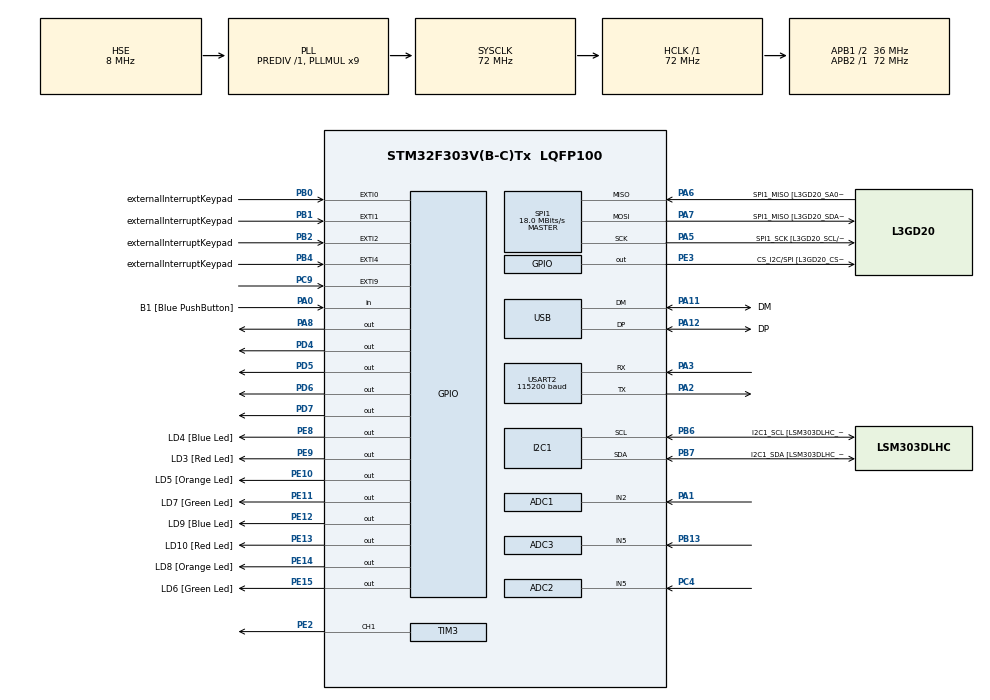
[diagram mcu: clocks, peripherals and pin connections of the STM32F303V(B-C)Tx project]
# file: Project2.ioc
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ADC1.Channel-37\#ChannelRegularConversion=ADC_CHANNEL_2
ADC1.ClockPrescaler=ADC_CLOCK_ASYNC_DIV1
ADC1.ContinuousConvMode=DISABLE
ADC1.DMAContinuousRequests=DISABLE
ADC1.DataAlign=ADC_DATAALIGN_RIGHT
ADC1.DiscontinuousConvMode=DISABLE
ADC1.EOCSelection=ADC_EOC_SINGLE_CONV
ADC1.EnableAnalogWatchDog1=false
ADC1.EnableAnalogWatchDog2=false
ADC1.EnableAnalogWatchDog3=false
ADC1.EnableInjectedConversion=ENABLE
ADC1.EnableRegularConversion=ENABLE
ADC1.ExternalTrigConv=ADC_SOFTWARE_START
ADC1.ExternalTrigConvEdge=ADC_EXTERNALTRIGCONVEDGE_NONE
ADC1.InjNumberOfConversion=0
ADC1.LowPowerAutoWait=DISABLE
ADC1.NbrOfConversion=1
ADC1.NbrOfConversionFlag=1
ADC1.Offset-37\#ChannelRegularConversion=0
ADC1.OffsetNumber-37\#ChannelRegularConversion=ADC_OFFSET_NONE
ADC1.Overrun=ADC_OVR_DATA_OVERWRITTEN
ADC1.Rank-37\#ChannelRegularConversion=1
ADC1.Resolution=ADC_RESOLUTION_8B
ADC1.SamplingTime-37\#ChannelRegularConversion=ADC_SAMPLETIME_601CYCLES_5
ADC1.ScanConvMode=ADC_SCAN_DISABLE
ADC1.master=1
ADC2.Channel-0\#ChannelRegularConversion=ADC_CHANNEL_5
ADC2.NbrOfConversionFlag=1
ADC2.Offset-0\#ChannelRegularConversion=0
ADC2.OffsetNumber-0\#ChannelRegularConversion=ADC_OFFSET_NONE
ADC2.Rank-0\#ChannelRegularConversion=1
ADC2.Resolution=ADC_RESOLUTION_8B
ADC2.SamplingTime-0\#ChannelRegularConversion=ADC_SAMPLETIME_601CYCLES_5
ADC3.Channel-11\#ChannelRegularConversion=ADC_CHANNEL_5
ADC3.NbrOfConversionFlag=1
ADC3.Offset-11\#ChannelRegularConversion=0
ADC3.OffsetNumber-11\#ChannelRegularConversion=ADC_OFFSET_NONE
ADC3.Rank-11\#ChannelRegularConversion=1
ADC3.Resolution=ADC_RESOLUTION_8B
ADC3.SamplingTime-11\#ChannelRegularConversion=ADC_SAMPLETIME_601CYCLES_5
ADC3.master=1
I2C1.Timing-I2C=0x2000090E
Mcu.Family=STM32F3
Mcu.Name=STM32F303V(B-C)Tx
Mcu.Package=LQFP100
NVIC.ADC1_2_IRQn=true\:3\:0\:true\:false\:true\:true
NVIC.ADC3_IRQn=true\:3\:0\:true\:false\:true\:true
NVIC.EXTI0_IRQn=true\:1\:0\:true\:false\:true\:true
NVIC.EXTI1_IRQn=true\:1\:0\:true\:false\:true\:true
NVIC.EXTI2_TSC_IRQn=true\:1\:0\:true\:false\:true\:true
NVIC.EXTI4_IRQn=true\:1\:0\:true\:false\:true\:true
NVIC.EXTI9_5_IRQn=true\:1\:0\:true\:false\:true\:true
NVIC.PriorityGroup=NVIC_PRIORITYGROUP_3
NVIC.TIM2_IRQn=true\:2\:0\:true\:false\:true\:true
NVIC.USART2_IRQn=true\:1\:0\:true\:false\:true\:true
PA0.GPIO_Label=B1 [Blue PushButton]
PA0.Signal=GPIO_Input
PA1.Mode=IN2-Single-Ended
PA1.Signal=ADC1_IN2
PA11.GPIO_Label=DM
PA11.Mode=Device
PA11.Signal=USB_DM
PA12.GPIO_Label=DP
PA12.Mode=Device
PA12.Signal=USB_DP
PA13.GPIO_Label=SWDIO
PA13.Mode=Serial_Wire
PA13.Signal=SYS_JTMS-SWDIO
PA14.GPIO_Label=SWCLK
PA14.Mode=Serial_Wire
PA14.Signal=SYS_JTCK-SWCLK
PA2.Mode=Asynchronous
PA2.Signal=USART2_TX
PA3.Mode=Asynchronous
PA3.Signal=USART2_RX
PA5.GPIO_Label=SPI1_SCK [L3GD20_SCL/SPC]
PA5.Mode=Full_Duplex_Master
PA5.Signal=SPI1_SCK
PA6.GPIO_Label=SPI1_MISO [L3GD20_SA0/SDO]
PA6.Mode=Full_Duplex_Master
PA6.Signal=SPI1_MISO
PA7.GPIO_Label=SPI1_MISO [L3GD20_SDA/SDI/SDO]
PA7.Mode=Full_Duplex_Master
PA7.Signal=SPI1_MOSI
PA8.GPIO_PuPd=GPIO_PULLDOWN
PA8.Signal=GPIO_Output
PB0.GPIO_Label=externalInterruptKeypad
PB0.GPIO_PuPd=GPIO_PULLDOWN
PB0.Signal=GPXTI0
PB1.GPIO_Label=externalInterruptKeypad
PB1.GPIO_PuPd=GPIO_PULLDOWN
PB1.Signal=GPXTI1
PB13.Mode=IN5-Single-Ended
PB13.Signal=ADC3_IN5
PB2.GPIO_Label=externalInterruptKeypad
PB2.GPIO_PuPd=GPIO_PULLDOWN
PB2.Signal=GPXTI2
PB3.GPIO_Label=SWO
PB3.Signal=SYS_JTDO-TRACESWO
PB4.GPIO_Label=externalInterruptKeypad
PB4.GPIO_PuPd=GPIO_PULLDOWN
PB4.Signal=GPXTI4
PB6.GPIO_Label=I2C1_SCL [LSM303DLHC_SCL]
PB6.Mode=I2C
PB6.Signal=I2C1_SCL
PB7.GPIO_Label=I2C1_SDA [LSM303DLHC_SDA]
PB7.Mode=I2C
PB7.Signal=I2C1_SDA
PC14-OSC32_IN.GPIO_Label=OSC32_IN
PC14-OSC32_IN.Signal=RCC_OSC32_IN
PC15-OSC32_OUT.GPIO_Label=OSC32_OUT
PC15-OSC32_OUT.Signal=RCC_OSC32_OUT
PC4.Mode=IN5-Single-Ended
PC4.Signal=ADC2_IN5
PC9.Signal=GPXTI9
PD4.Signal=GPIO_Output
PD5.Signal=GPIO_Output
PD6.Signal=GPIO_Output
PD7.Signal=GPIO_Output
PE10.GPIO_Label=LD5 [Orange Led]
PE10.Signal=GPIO_Output
PE11.GPIO_Label=LD7 [Green Led]
PE11.Signal=GPIO_Output
PE12.GPIO_Label=LD9 [Blue Led]
PE12.Signal=GPIO_Output
PE13.GPIO_Label=LD10 [Red Led]
PE13.Signal=GPIO_Output
PE14.GPIO_Label=LD8 [Orange Led]
PE14.Signal=GPIO_Output
PE15.GPIO_Label=LD6 [Green Led]
PE15.Signal=GPIO_Output
PE2.GPIO_PuPd=GPIO_NOPULL
PE2.Signal=S_TIM3_CH1
PE3.GPIO_Label=CS_I2C/SPI [L3GD20_CS_I2C/SPI]
PE3.Signal=GPIO_Output
PE8.GPIO_Label=LD4 [Blue Led]
PE8.Signal=GPIO_Output
PE9.GPIO_Label=LD3 [Red Led]
PE9.Signal=GPIO_Output
PF0-OSC_IN.GPIO_Label=OSC_IN
PF0-OSC_IN.Mode=HSE-External-Clock-Source
PF0-OSC_IN.Signal=RCC_OSC_IN
PF1-OSC_OUT.GPIO_Label=OSC_OUT
PF1-OSC_OUT.Signal=RCC_OSC_OUT
ProjectManager.HeapSize=0x200
ProjectManager.StackSize=0x400
ProjectManager.TargetToolchain=MDK-ARM V5
RCC.AHBFreq_Value=72000000
RCC.APB1CLKDivider=RCC_HCLK_DIV2
RCC.APB1Freq_Value=36000000
RCC.APB1TimFreq_Value=72000000
RCC.APB2Freq_Value=72000000
RCC.APB2TimFreq_Value=72000000
RCC.CortexFreq_Value=72000000
RCC.HCLKFreq_Value=72000000
RCC.HSE_VALUE=8000000
RCC.HSI_VALUE=8000000
RCC.LSE_VALUE=32768
RCC.PLLMUL=RCC_PLL_MUL9
RCC.PRESCALERUSB=RCC_USBCLKSOURCE_PLL_DIV1_5
RCC.SYSCLKFreq_VALUE=72000000
RCC.SYSCLKSourceVirtual=RCC_SYSCLKSOURCE_PLLCLK
RCC.USBFreq_Value=48000000
RTC.AsynchPrediv=39
RTC.SynchPrediv=999
SH.S_TIM3_CH1.0=TIM3_CH1,PWM Generation1 CH1
SPI1.BaudRatePrescaler=SPI_BAUDRATEPRESCALER_4
SPI1.BaudRatePrescaler-Full_Duplex_Master=SPI_BAUDRATEPRESCALER_2
SPI1.CalculateBaudRate=18.0 MBits/s
SPI1.CalculateBaudRate-Full_Duplex_Master=24.0 MBits/s
SPI1.Direction=SPI_DIRECTION_2LINES
SPI1.Mode=SPI_MODE_MASTER
SPI1.Mode-Full_Duplex_Master=SPI_MODE_MASTER
SPI1.VirtualType=VM_MASTER
TIM2.Period=10000
TIM2.Prescaler=719
TIM3.Channel-PWM\ Generation1\ CH1=TIM_CHANNEL_1
TIM3.Period=100
TIM3.Prescaler=72
USART2.BaudRate=115200
USART2.VirtualMode-Asynchronous=VM_ASYNC
VP_RTC_VS_RTC_Activate.Mode=RTC_Enabled
VP_RTC_VS_RTC_Calendar.Mode=RTC_Calendar
VP_TIM2_VS_ClockSourceINT.Mode=Internal
board=STM32F3DISCOVERY

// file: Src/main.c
/**
  ******************************************************************************
  * @file           : main.c
  * @brief          : Main program body
  ******************************************************************************
  ** This notice applies to any and all portions of this file
  * that are not between comment pairs USER CODE BEGIN and
  * USER CODE END. Other portions of this file, whether
  * inserted by the user or by software development tools
  * are owned by their respective copyright owners.
  *
  * COPYRIGHT(c) 2019 STMicroelectronics
  *
  * Redistribution and use in source and binary forms, with or without modification,
  * are permitted provided that the following conditions are met:
  *   1. Redistributions of source code must retain the above copyright notice,
  *      this list of conditions and the following disclaimer.
  *   2. Redistributions in binary form must reproduce the above copyright notice,
  *      this list of conditions and the following disclaimer in the documentation
  *      and/or other materials provided with the distribution.
  *   3. Neither the name of STMicroelectronics nor the names of its contributors
  *      may be used to endorse or promote products derived from this software
  *      without specific prior written permission.
  *
  * THIS SOFTWARE IS PROVIDED BY THE COPYRIGHT HOLDERS AND CONTRIBUTORS "AS IS"
  * AND ANY EXPRESS OR IMPLIED WARRANTIES, INCLUDING, BUT NOT LIMITED TO, THE
  * IMPLIED WARRANTIES OF MERCHANTABILITY AND FITNESS FOR A PARTICULAR PURPOSE ARE
  * DISCLAIMED. IN NO EVENT SHALL THE COPYRIGHT HOLDER OR CONTRIBUTORS BE LIABLE
  * FOR ANY DIRECT, INDIRECT, INCIDENTAL, SPECIAL, EXEMPLARY, OR CONSEQUENTIAL
  * DAMAGES (INCLUDING, BUT NOT LIMITED TO, PROCUREMENT OF SUBSTITUTE GOODS OR
  * SERVICES; LOSS OF USE, DATA, OR PROFITS; OR BUSINESS INTERRUPTION) HOWEVER
  * CAUSED AND ON ANY THEORY OF LIABILITY, WHETHER IN CONTRACT, STRICT LIABILITY,
  * OR TORT (INCLUDING NEGLIGENCE OR OTHERWISE) ARISING IN ANY WAY OUT OF THE USE
  * OF THIS SOFTWARE, EVEN IF ADVISED OF THE POSSIBILITY OF SUCH DAMAGE.
  *
  ******************************************************************************
  */
#include "main.h"
#include "stm32f3xx_hal.h"

/* USER CODE BEGIN Includes */
#include "LiquidCrystal.h"
/* USER CODE END Includes */

ADC_HandleTypeDef hadc1;
ADC_HandleTypeDef hadc2;
ADC_HandleTypeDef hadc3;

I2C_HandleTypeDef hi2c1;

RTC_HandleTypeDef hrtc;

SPI_HandleTypeDef hspi1;

TIM_HandleTypeDef htim2;
TIM_HandleTypeDef htim3;

UART_HandleTypeDef huart2;

PCD_HandleTypeDef hpcd_USB_FS;

/* USER CODE BEGIN PV */
/* Private variables ---------------------------------------------------------*/

	int mode = 0;
	int c = 0;
	int blinkCounter = 0;
	RTC_TimeTypeDef t;
	RTC_DateTypeDef d;

	/* for showing time */
	char hi[5];
	char low[5];

	/* It was used by Sorush. i do not know even what the fuck is this! */
	int b = 0;

	/* 5 stars values */
	unsigned char dd = '1';
	unsigned char buffer[100] = "";
	int pos = 0;
	char temp[100] = "";
	char light[100] = "";

	void specialChar();

/* USER CODE END PV */

void SystemClock_Config(void);
static void MX_GPIO_Init(void);
static void MX_I2C1_Init(void);
static void MX_SPI1_Init(void);
static void MX_USB_PCD_Init(void);
static void MX_RTC_Init(void);
static void MX_USART2_UART_Init(void);
static void MX_TIM2_Init(void);
static void MX_ADC1_Init(void);
static void MX_ADC2_Init(void);
static void MX_ADC3_Init(void);
static void MX_TIM3_Init(void);

void HAL_TIM_MspPostInit(TIM_HandleTypeDef *htim);

/* USER CODE BEGIN PFP */
/* Private function prototypes -----------------------------------------------*/

/* USER CODE END PFP */

/* USER CODE BEGIN 0 */

char* zeropadd(int time){
	sprintf(hi,"%d",time/10);
	sprintf(low,"%d",time%10);
	strcat(hi,low);
	return hi;
}
char* toWeekday(int weekday){
	switch (weekday){
		case 0:
			return "MON";
		case 1:
			return "TUE";
		case 2:
			return "WED";
		case 3:
			return "THU";
		case 4:
			return "FRI";
		case 5:
			return "SAT";
	}
	return "SUN";
}
char* toMonth(int month){
	switch (month){
		case 1:
			return "Jan";
		case 2:
			return "Feb";
		case 3:
			return "Mar";
		case 4:
			return "Apr";
		case 5:
			return "May";
		case 6:
			return "Jun";
		case 7:
			return "Jul";
		case 8:
			return "Aug";
		case 9:
			return "Sep";
		case 10:
			return "Oct";
		case 11:
			return "Nov";
	}
	return "Dec";
}
void showTimeCalender(RTC_TimeTypeDef t,RTC_DateTypeDef d, int counter){
	print("");
	HAL_RTC_GetTime(&hrtc,&t,RTC_FORMAT_BIN);
	HAL_RTC_GetDate(&hrtc,&d,RTC_FORMAT_BIN);

	char indicator[2];
	char time[9];
	char date[16];
	if(t.Hours - 12 >= 0){
		t.Hours = t.Hours-12;
		strcpy(indicator,"PM");
	}
	else{
		strcpy(indicator,"AM");
	}
	strcpy(time," ");
	strcat(time,zeropadd(t.Hours));
	strcat(time,":");
	strcat(time,zeropadd(t.Minutes));
	strcat(time,":");
	strcat(time,zeropadd(t.Seconds));
	strcat(time," ");
	if(counter < 9 && abs(t.Seconds - b) > 0.25){
		*(time + counter) = ' ';
		b = t.Seconds;
	}

	setCursor(3,0);
	print(time);
	print(indicator);

	char calender[2][10] ;
	sprintf(calender[0], "%d", d.Date);
	sprintf(calender[1], "%d", d.Year);
	strcpy(date," ");
	strcat(date,toWeekday(d.WeekDay));
	strcat(date," ");
	strcat(date,toMonth(d.Month));
	strcat(date," ");
	strcat(date,calender[0]);
	strcat(date,",20");
	strcat(date,calender[1]);
	strcat(date," ");
	setCursor(2,1);

	if(counter > 8 && abs(t.Seconds - b) > 0.25){
		counter %= 8;

		switch (counter){
			case 1:
				*(date + counter + 9) = ' ';
			break;
			case 3:
				*(date + counter) = ' ';
				*(date + counter - 1) = ' ';
				*(date + counter - 2) = ' ';
			break;

			case 4:
				*(date + counter + 11) = ' ';
			break;

			case 6:
				*(date + counter - 1) = ' ';
				*(date + counter) = ' ';
				*(date + counter + 1) = ' ';
			break;

		}

		b = t.Seconds;
	}

	print(date);
}

void showTemp(){
	setCursor(4,0);
	print(temp);

	setCursor(8,0);
	write(3);

	setCursor(9,0);
	print("C");

	setCursor(11,0);
	write(2);

	setCursor(12,0);
	write(1);

	setCursor(13,0);
	write(0);

}

void showLight(){
	setCursor(4,0);
	print(light);

	setCursor(8,0);
	print("%L");

	setCursor(11,0);
	write(6);

	setCursor(12,0);
	write(5);

	setCursor(13,0);
	write(4);
}

int ClearScreen(){
	clear();
	return 0;
}

void motionDtc(){
	print("Motion Detect");
	HAL_Delay(500);
	c = 1;
	mode = 0;
}

void increaseTime(){
	switch (blinkCounter){
		case 2:
			t.Hours = (t.Hours +1) % 24;
			break;

		case 5:
			t.Minutes = (t.Minutes +1) % 60;
			break;

		case 8:
			t.Seconds = (t.Seconds + 1) % 60;
			break;

		case 11:
			d.WeekDay = (d.WeekDay + 1) % 7;
			break;

		case 14:
			d.Month = (d.Month + 1) % 12;
			break;

		case 17:
			d.Date = (d.Date + 1)%31;
			break;

		case 20:
			d.Year = (d.Year + 1) % 100;
			break;

		default:
			break;

	}
		HAL_RTC_SetTime(&hrtc,&t,RTC_FORMAT_BIN);
		HAL_RTC_SetDate(&hrtc,&d,RTC_FORMAT_BIN);
}

void decreaseTime(){
	switch (blinkCounter){
		case 2:
			t.Hours = (t.Hours -1) % 24;
			break;

		case 5:
			t.Minutes = (t.Minutes -1) % 60;
			break;

		case 8:
			t.Seconds = (t.Seconds - 1) % 60;
			break;

		case 11:
			d.WeekDay = (d.WeekDay - 1) % 7;
			break;

		case 14:
			d.Month = (d.Month - 1) % 12;
			break;

		case 17:
			d.Date = (d.Date - 1)%31;
			break;

		case 20:
			d.Year = (d.Year - 1) % 100;
			break;

		default:
			break;

	}
		HAL_RTC_SetTime(&hrtc,&t,RTC_FORMAT_BIN);
		HAL_RTC_SetDate(&hrtc,&d,RTC_FORMAT_BIN);
}

void specialChar(){

	unsigned char dal[8]={0x00,
  0x00,
  0x0C,
  0x06,
  0x03,
  0x0F,
  0x00,
  0x00};
	unsigned char mim[8]={0x00,
  0x00,
  0x00,
  0x0E,
  0x0A,
  0x1E,
  0x00,
  0x00};
	unsigned char alef[8]={0x01,
  0x01,
  0x01,
  0x01,
  0x01,
  0x01,
  0x00,
  0x00};
	unsigned char degree[8]={0x04,
  0x0A,
  0x04,
  0x00,
  0x00,
  0x00,
  0x00,
  0x00};
	unsigned char noon[8]={0x00,
  0x00,
  0x02,
  0x00,
  0x02,
  0x1E,
  0x00,
  0x00};
	unsigned char vav[8]={0x00,
  0x00,
  0x04,
  0x0A,
  0x06,
  0x02,
  0x04,
  0x08};
	unsigned char rr[8]={0x00,
  0x00,
  0x00,
  0x00,
  0x02,
  0x04,
  0x08,
  0x10};

	createChar(0,dal);
	createChar(1,mim);
	createChar(2,alef);
	createChar(3,degree);
	createChar(4,noon);
	createChar(5,vav);
	createChar(6,rr);
}
/* USER CODE END 0 */

int main(void)
{

  /* MCU Configuration----------------------------------------------------------*/

  /* Reset of all peripherals, Initializes the Flash interface and the Systick. */
  HAL_Init();

  /* Configure the system clock */
  SystemClock_Config();

  /* Initialize all configured peripherals */
  MX_GPIO_Init();
  MX_I2C1_Init();
  MX_SPI1_Init();
  MX_USB_PCD_Init();
  MX_RTC_Init();
  MX_USART2_UART_Init();
  MX_TIM2_Init();
  MX_ADC1_Init();
  MX_ADC2_Init();
  MX_ADC3_Init();
  MX_TIM3_Init();
  /* USER CODE BEGIN 2 */
	LiquidCrystal(GPIOD, GPIO_PIN_8, GPIO_PIN_9, GPIO_PIN_10, GPIO_PIN_11, GPIO_PIN_12, GPIO_PIN_13, GPIO_PIN_14);
	begin(20,4);
	specialChar();

	HAL_TIM_Base_Start_IT(&htim2);

  /* USER CODE END 2 */

  /* Infinite loop */
  while (1)
  {

  }

}

void SystemClock_Config(void)
{

  RCC_OscInitTypeDef RCC_OscInitStruct;
  RCC_ClkInitTypeDef RCC_ClkInitStruct;
  RCC_PeriphCLKInitTypeDef PeriphClkInit;

    /**Initializes the CPU, AHB and APB busses clocks
    */
  RCC_OscInitStruct.OscillatorType = RCC_OSCILLATORTYPE_HSI|RCC_OSCILLATORTYPE_LSI
                              |RCC_OSCILLATORTYPE_HSE;
  RCC_OscInitStruct.HSEState = RCC_HSE_BYPASS;
  RCC_OscInitStruct.HSEPredivValue = RCC_HSE_PREDIV_DIV1;
  RCC_OscInitStruct.HSIState = RCC_HSI_ON;
  RCC_OscInitStruct.HSICalibrationValue = 16;
  RCC_OscInitStruct.LSIState = RCC_LSI_ON;
  RCC_OscInitStruct.PLL.PLLState = RCC_PLL_ON;
  RCC_OscInitStruct.PLL.PLLSource = RCC_PLLSOURCE_HSE;
  RCC_OscInitStruct.PLL.PLLMUL = RCC_PLL_MUL9;
  if (HAL_RCC_OscConfig(&RCC_OscInitStruct) != HAL_OK)
  {
    _Error_Handler(__FILE__, __LINE__);
  }

    /**Initializes the CPU, AHB and APB busses clocks
    */
  RCC_ClkInitStruct.ClockType = RCC_CLOCKTYPE_HCLK|RCC_CLOCKTYPE_SYSCLK
                              |RCC_CLOCKTYPE_PCLK1|RCC_CLOCKTYPE_PCLK2;
  RCC_ClkInitStruct.SYSCLKSource = RCC_SYSCLKSOURCE_PLLCLK;
  RCC_ClkInitStruct.AHBCLKDivider = RCC_SYSCLK_DIV1;
  RCC_ClkInitStruct.APB1CLKDivider = RCC_HCLK_DIV2;
  RCC_ClkInitStruct.APB2CLKDivider = RCC_HCLK_DIV1;

  if (HAL_RCC_ClockConfig(&RCC_ClkInitStruct, FLASH_LATENCY_2) != HAL_OK)
  {
    _Error_Handler(__FILE__, __LINE__);
  }

  PeriphClkInit.PeriphClockSelection = RCC_PERIPHCLK_USB|RCC_PERIPHCLK_USART2
                              |RCC_PERIPHCLK_I2C1|RCC_PERIPHCLK_RTC
                              |RCC_PERIPHCLK_ADC12|RCC_PERIPHCLK_ADC34;
  PeriphClkInit.Usart2ClockSelection = RCC_USART2CLKSOURCE_PCLK1;
  PeriphClkInit.Adc12ClockSelection = RCC_ADC12PLLCLK_DIV1;
  PeriphClkInit.Adc34ClockSelection = RCC_ADC34PLLCLK_DIV1;
  PeriphClkInit.I2c1ClockSelection = RCC_I2C1CLKSOURCE_HSI;
  PeriphClkInit.RTCClockSelection = RCC_RTCCLKSOURCE_LSI;
  PeriphClkInit.USBClockSelection = RCC_USBCLKSOURCE_PLL_DIV1_5;
  if (HAL_RCCEx_PeriphCLKConfig(&PeriphClkInit) != HAL_OK)
  {
    _Error_Handler(__FILE__, __LINE__);
  }

    /**Configure the Systick interrupt time
    */
  HAL_SYSTICK_Config(HAL_RCC_GetHCLKFreq()/1000);

    /**Configure the Systick
    */
  HAL_SYSTICK_CLKSourceConfig(SYSTICK_CLKSOURCE_HCLK);

  /* SysTick_IRQn interrupt configuration */
  HAL_NVIC_SetPriority(SysTick_IRQn, 0, 0);
}

/* ADC1 init function */
static void MX_ADC1_Init(void)
{

  ADC_MultiModeTypeDef multimode;
  ADC_ChannelConfTypeDef sConfig;

    /**Common config
    */
  hadc1.Instance = ADC1;
  hadc1.Init.ClockPrescaler = ADC_CLOCK_ASYNC_DIV1;
  hadc1.Init.Resolution = ADC_RESOLUTION_8B;
  hadc1.Init.ScanConvMode = ADC_SCAN_DISABLE;
  hadc1.Init.ContinuousConvMode = DISABLE;
  hadc1.Init.DiscontinuousConvMode = DISABLE;
  hadc1.Init.ExternalTrigConvEdge = ADC_EXTERNALTRIGCONVEDGE_NONE;
  hadc1.Init.ExternalTrigConv = ADC_SOFTWARE_START;
  hadc1.Init.DataAlign = ADC_DATAALIGN_RIGHT;
  hadc1.Init.NbrOfConversion = 1;
  hadc1.Init.DMAContinuousRequests = DISABLE;
  hadc1.Init.EOCSelection = ADC_EOC_SINGLE_CONV;
  hadc1.Init.LowPowerAutoWait = DISABLE;
  hadc1.Init.Overrun = ADC_OVR_DATA_OVERWRITTEN;
  if (HAL_ADC_Init(&hadc1) != HAL_OK)
  {
    _Error_Handler(__FILE__, __LINE__);
  }

    /**Configure the ADC multi-mode
    */
  multimode.Mode = ADC_MODE_INDEPENDENT;
  if (HAL_ADCEx_MultiModeConfigChannel(&hadc1, &multimode) != HAL_OK)
  {
    _Error_Handler(__FILE__, __LINE__);
  }

    /**Configure Regular Channel
    */
  sConfig.Channel = ADC_CHANNEL_2;
  sConfig.Rank = ADC_REGULAR_RANK_1;
  sConfig.SingleDiff = ADC_SINGLE_ENDED;
  sConfig.SamplingTime = ADC_SAMPLETIME_601CYCLES_5;
  sConfig.OffsetNumber = ADC_OFFSET_NONE;
  sConfig.Offset = 0;
  if (HAL_ADC_ConfigChannel(&hadc1, &sConfig) != HAL_OK)
  {
    _Error_Handler(__FILE__, __LINE__);
  }

}

/* ADC2 init function */
static void MX_ADC2_Init(void)
{

  ADC_ChannelConfTypeDef sConfig;

    /**Common config
    */
  hadc2.Instance = ADC2;
  hadc2.Init.ClockPrescaler = ADC_CLOCK_ASYNC_DIV1;
  hadc2.Init.Resolution = ADC_RESOLUTION_8B;
  hadc2.Init.ScanConvMode = ADC_SCAN_DISABLE;
  hadc2.Init.ContinuousConvMode = DISABLE;
  hadc2.Init.DiscontinuousConvMode = DISABLE;
  hadc2.Init.ExternalTrigConvEdge = ADC_EXTERNALTRIGCONVEDGE_NONE;
  hadc2.Init.ExternalTrigConv = ADC_SOFTWARE_START;
  hadc2.Init.DataAlign = ADC_DATAALIGN_RIGHT;
  hadc2.Init.NbrOfConversion = 1;
  hadc2.Init.DMAContinuousRequests = DISABLE;
  hadc2.Init.EOCSelection = ADC_EOC_SINGLE_CONV;
  hadc2.Init.LowPowerAutoWait = DISABLE;
  hadc2.Init.Overrun = ADC_OVR_DATA_OVERWRITTEN;
  if (HAL_ADC_Init(&hadc2) != HAL_OK)
  {
    _Error_Handler(__FILE__, __LINE__);
  }

    /**Configure Regular Channel
    */
  sConfig.Channel = ADC_CHANNEL_5;
  sConfig.Rank = ADC_REGULAR_RANK_1;
  sConfig.SingleDiff = ADC_SINGLE_ENDED;
  sConfig.SamplingTime = ADC_SAMPLETIME_601CYCLES_5;
  sConfig.OffsetNumber = ADC_OFFSET_NONE;
  sConfig.Offset = 0;
  if (HAL_ADC_ConfigChannel(&hadc2, &sConfig) != HAL_OK)
  {
    _Error_Handler(__FILE__, __LINE__);
  }

}

/* ADC3 init function */
static void MX_ADC3_Init(void)
{

  ADC_MultiModeTypeDef multimode;
  ADC_ChannelConfTypeDef sConfig;

    /**Common config
    */
  hadc3.Instance = ADC3;
  hadc3.Init.ClockPrescaler = ADC_CLOCK_ASYNC_DIV1;
  hadc3.Init.Resolution = ADC_RESOLUTION_8B;
  hadc3.Init.ScanConvMode = ADC_SCAN_DISABLE;
  hadc3.Init.ContinuousConvMode = DISABLE;
  hadc3.Init.DiscontinuousConvMode = DISABLE;
  hadc3.Init.ExternalTrigConvEdge = ADC_EXTERNALTRIGCONVEDGE_NONE;
  hadc3.Init.ExternalTrigConv = ADC_SOFTWARE_START;
  hadc3.Init.DataAlign = ADC_DATAALIGN_RIGHT;
  hadc3.Init.NbrOfConversion = 1;
  hadc3.Init.DMAContinuousRequests = DISABLE;
  hadc3.Init.EOCSelection = ADC_EOC_SINGLE_CONV;
  hadc3.Init.LowPowerAutoWait = DISABLE;
  hadc3.Init.Overrun = ADC_OVR_DATA_OVERWRITTEN;
  if (HAL_ADC_Init(&hadc3) != HAL_OK)
  {
    _Error_Handler(__FILE__, __LINE__);
  }

    /**Configure the ADC multi-mode
    */
  multimode.Mode = ADC_MODE_INDEPENDENT;
  if (HAL_ADCEx_MultiModeConfigChannel(&hadc3, &multimode) != HAL_OK)
  {
    _Error_Handler(__FILE__, __LINE__);
  }

    /**Configure Regular Channel
    */
  sConfig.Channel = ADC_CHANNEL_5;
  sConfig.Rank = ADC_REGULAR_RANK_1;
  sConfig.SingleDiff = ADC_SINGLE_ENDED;
  sConfig.SamplingTime = ADC_SAMPLETIME_601CYCLES_5;
  sConfig.OffsetNumber = ADC_OFFSET_NONE;
  sConfig.Offset = 0;
  if (HAL_ADC_ConfigChannel(&hadc3, &sConfig) != HAL_OK)
  {
    _Error_Handler(__FILE__, __LINE__);
  }

}

/* I2C1 init function */
static void MX_I2C1_Init(void)
{

  hi2c1.Instance = I2C1;
  hi2c1.Init.Timing = 0x2000090E;
  hi2c1.Init.OwnAddress1 = 0;
  hi2c1.Init.AddressingMode = I2C_ADDRESSINGMODE_7BIT;
  hi2c1.Init.DualAddressMode = I2C_DUALADDRESS_DISABLE;
  hi2c1.Init.OwnAddress2 = 0;
  hi2c1.Init.OwnAddress2Masks = I2C_OA2_NOMASK;
  hi2c1.Init.GeneralCallMode = I2C_GENERALCALL_DISABLE;
  hi2c1.Init.NoStretchMode = I2C_NOSTRETCH_DISABLE;
  if (HAL_I2C_Init(&hi2c1) != HAL_OK)
  {
    _Error_Handler(__FILE__, __LINE__);
  }

    /**Configure Analogue filter
    */
  if (HAL_I2CEx_ConfigAnalogFilter(&hi2c1, I2C_ANALOGFILTER_ENABLE) != HAL_OK)
  {
    _Error_Handler(__FILE__, __LINE__);
  }

    /**Configure Digital filter
    */
  if (HAL_I2CEx_ConfigDigitalFilter(&hi2c1, 0) != HAL_OK)
  {
    _Error_Handler(__FILE__, __LINE__);
  }

}

/* RTC init function */
static void MX_RTC_Init(void)
{

  RTC_TimeTypeDef sTime;
  RTC_DateTypeDef sDate;

    /**Initialize RTC Only
    */
  hrtc.Instance = RTC;
  hrtc.Init.HourFormat = RTC_HOURFORMAT_24;
  hrtc.Init.AsynchPrediv = 39;
  hrtc.Init.SynchPrediv = 999;
  hrtc.Init.OutPut = RTC_OUTPUT_DISABLE;
  hrtc.Init.OutPutPolarity = RTC_OUTPUT_POLARITY_HIGH;
  hrtc.Init.OutPutType = RTC_OUTPUT_TYPE_OPENDRAIN;
  if (HAL_RTC_Init(&hrtc) != HAL_OK)
  {
    _Error_Handler(__FILE__, __LINE__);
  }

    /**Initialize RTC and set the Time and Date
    */
  sTime.Hours = 0x0;
  sTime.Minutes = 0x0;
  sTime.Seconds = 0x0;
  sTime.DayLightSaving = RTC_DAYLIGHTSAVING_NONE;
  sTime.StoreOperation = RTC_STOREOPERATION_RESET;
  if (HAL_RTC_SetTime(&hrtc, &sTime, RTC_FORMAT_BCD) != HAL_OK)
  {
    _Error_Handler(__FILE__, __LINE__);
  }

  sDate.WeekDay = RTC_WEEKDAY_MONDAY;
  sDate.Month = RTC_MONTH_JANUARY;
  sDate.Date = 0x1;
  sDate.Year = 0x0;

  if (HAL_RTC_SetDate(&hrtc, &sDate, RTC_FORMAT_BCD) != HAL_OK)
  {
    _Error_Handler(__FILE__, __LINE__);
  }

}

/* SPI1 init function */
static void MX_SPI1_Init(void)
{

  /* SPI1 parameter configuration*/
  hspi1.Instance = SPI1;
  hspi1.Init.Mode = SPI_MODE_MASTER;
  hspi1.Init.Direction = SPI_DIRECTION_2LINES;
  hspi1.Init.DataSize = SPI_DATASIZE_4BIT;
  hspi1.Init.CLKPolarity = SPI_POLARITY_LOW;
  hspi1.Init.CLKPhase = SPI_PHASE_1EDGE;
  hspi1.Init.NSS = SPI_NSS_SOFT;
  hspi1.Init.BaudRatePrescaler = SPI_BAUDRATEPRESCALER_4;
  hspi1.Init.FirstBit = SPI_FIRSTBIT_MSB;
  hspi1.Init.TIMode = SPI_TIMODE_DISABLE;
  hspi1.Init.CRCCalculation = SPI_CRCCALCULATION_DISABLE;
  hspi1.Init.CRCPolynomial = 7;
  hspi1.Init.CRCLength = SPI_CRC_LENGTH_DATASIZE;
  hspi1.Init.NSSPMode = SPI_NSS_PULSE_ENABLE;
  if (HAL_SPI_Init(&hspi1) != HAL_OK)
  {
    _Error_Handler(__FILE__, __LINE__);
  }

}

/* TIM2 init function */
static void MX_TIM2_Init(void)
{

  TIM_ClockConfigTypeDef sClockSourceConfig;
  TIM_MasterConfigTypeDef sMasterConfig;

  htim2.Instance = TIM2;
  htim2.Init.Prescaler = 719;
  htim2.Init.CounterMode = TIM_COUNTERMODE_UP;
  htim2.Init.Period = 10000;
  htim2.Init.ClockDivision = TIM_CLOCKDIVISION_DIV1;
  htim2.Init.AutoReloadPreload = TIM_AUTORELOAD_PRELOAD_DISABLE;
  if (HAL_TIM_Base_Init(&htim2) != HAL_OK)
  {
    _Error_Handler(__FILE__, __LINE__);
  }

  sClockSourceConfig.ClockSource = TIM_CLOCKSOURCE_INTERNAL;
  if (HAL_TIM_ConfigClockSource(&htim2, &sClockSourceConfig) != HAL_OK)
  {
    _Error_Handler(__FILE__, __LINE__);
  }

  sMasterConfig.MasterOutputTrigger = TIM_TRGO_RESET;
  sMasterConfig.MasterSlaveMode = TIM_MASTERSLAVEMODE_DISABLE;
  if (HAL_TIMEx_MasterConfigSynchronization(&htim2, &sMasterConfig) != HAL_OK)
  {
    _Error_Handler(__FILE__, __LINE__);
  }

}

/* TIM3 init function */
static void MX_TIM3_Init(void)
{

  TIM_MasterConfigTypeDef sMasterConfig;
  TIM_OC_InitTypeDef sConfigOC;

  htim3.Instance = TIM3;
  htim3.Init.Prescaler = 72;
  htim3.Init.CounterMode = TIM_COUNTERMODE_UP;
  htim3.Init.Period = 100;
  htim3.Init.ClockDivision = TIM_CLOCKDIVISION_DIV1;
  htim3.Init.AutoReloadPreload = TIM_AUTORELOAD_PRELOAD_DISABLE;
  if (HAL_TIM_PWM_Init(&htim3) != HAL_OK)
  {
    _Error_Handler(__FILE__, __LINE__);
  }

  sMasterConfig.MasterOutputTrigger = TIM_TRGO_RESET;
  sMasterConfig.MasterSlaveMode = TIM_MASTERSLAVEMODE_DISABLE;
  if (HAL_TIMEx_MasterConfigSynchronization(&htim3, &sMasterConfig) != HAL_OK)
  {
    _Error_Handler(__FILE__, __LINE__);
  }

  sConfigOC.OCMode = TIM_OCMODE_PWM1;
  sConfigOC.Pulse = 0;
  sConfigOC.OCPolarity = TIM_OCPOLARITY_HIGH;
  sConfigOC.OCFastMode = TIM_OCFAST_DISABLE;
  if (HAL_TIM_PWM_ConfigChannel(&htim3, &sConfigOC, TIM_CHANNEL_1) != HAL_OK)
  {
    _Error_Handler(__FILE__, __LINE__);
  }

  HAL_TIM_MspPostInit(&htim3);

}

/* USART2 init function */
static void MX_USART2_UART_Init(void)
{

  huart2.Instance = USART2;
  huart2.Init.BaudRate = 115200;
  huart2.Init.WordLength = UART_WORDLENGTH_8B;
  huart2.Init.StopBits = UART_STOPBITS_1;
  huart2.Init.Parity = UART_PARITY_NONE;
  huart2.Init.Mode = UART_MODE_TX_RX;
  huart2.Init.HwFlowCtl = UART_HWCONTROL_NONE;
  huart2.Init.OverSampling = UART_OVERSAMPLING_16;
  huart2.Init.OneBitSampling = UART_ONE_BIT_SAMPLE_DISABLE;
  huart2.AdvancedInit.AdvFeatureInit = UART_ADVFEATURE_NO_INIT;
  if (HAL_UART_Init(&huart2) != HAL_OK)
  {
    _Error_Handler(__FILE__, __LINE__);
  }

}

/* USB init function */
static void MX_USB_PCD_Init(void)
{

  hpcd_USB_FS.Instance = USB;
  hpcd_USB_FS.Init.dev_endpoints = 8;
  hpcd_USB_FS.Init.speed = PCD_SPEED_FULL;
  hpcd_USB_FS.Init.ep0_mps = DEP0CTL_MPS_64;
  hpcd_USB_FS.Init.phy_itface = PCD_PHY_EMBEDDED;
  hpcd_USB_FS.Init.low_power_enable = DISABLE;
  hpcd_USB_FS.Init.battery_charging_enable = DISABLE;
  if (HAL_PCD_Init(&hpcd_USB_FS) != HAL_OK)
  {
    _Error_Handler(__FILE__, __LINE__);
  }

}

/** Configure pins as
        * Analog
        * Input
        * Output
        * EVENT_OUT
        * EXTI
*/
static void MX_GPIO_Init(void)
{

  GPIO_InitTypeDef GPIO_InitStruct;

  /* GPIO Ports Clock Enable */
  __HAL_RCC_GPIOE_CLK_ENABLE();
  __HAL_RCC_GPIOC_CLK_ENABLE();
  __HAL_RCC_GPIOF_CLK_ENABLE();
  __HAL_RCC_GPIOA_CLK_ENABLE();
  __HAL_RCC_GPIOB_CLK_ENABLE();
  __HAL_RCC_GPIOD_CLK_ENABLE();

  /*Configure GPIO pin Output Level */
  HAL_GPIO_WritePin(GPIOE, CS_I2C_SPI_Pin|LD4_Pin|LD3_Pin|LD5_Pin
                          |LD7_Pin|LD9_Pin|LD10_Pin|LD8_Pin
                          |LD6_Pin, GPIO_PIN_RESET);

  /*Configure GPIO pin Output Level */
  HAL_GPIO_WritePin(GPIOA, GPIO_PIN_8, GPIO_PIN_RESET);

  /*Configure GPIO pin Output Level */
  HAL_GPIO_WritePin(GPIOD, GPIO_PIN_4|GPIO_PIN_5|GPIO_PIN_6|GPIO_PIN_7, GPIO_PIN_RESET);

  /*Configure GPIO pins : CS_I2C_SPI_Pin LD4_Pin LD3_Pin LD5_Pin
                           LD7_Pin LD9_Pin LD10_Pin LD8_Pin
                           LD6_Pin */
  GPIO_InitStruct.Pin = CS_I2C_SPI_Pin|LD4_Pin|LD3_Pin|LD5_Pin
                          |LD7_Pin|LD9_Pin|LD10_Pin|LD8_Pin
                          |LD6_Pin;
  GPIO_InitStruct.Mode = GPIO_MODE_OUTPUT_PP;
  GPIO_InitStruct.Pull = GPIO_NOPULL;
  GPIO_InitStruct.Speed = GPIO_SPEED_FREQ_LOW;
  HAL_GPIO_Init(GPIOE, &GPIO_InitStruct);

  /*Configure GPIO pin : B1_Pin */
  GPIO_InitStruct.Pin = B1_Pin;
  GPIO_InitStruct.Mode = GPIO_MODE_INPUT;
  GPIO_InitStruct.Pull = GPIO_NOPULL;
  HAL_GPIO_Init(B1_GPIO_Port, &GPIO_InitStruct);

  /*Configure GPIO pins : externalInterruptKeypad_Pin externalInterruptKeypadB1_Pin externalInterruptKeypadB2_Pin externalInterruptKeypadB4_Pin */
  GPIO_InitStruct.Pin = externalInterruptKeypad_Pin|externalInterruptKeypadB1_Pin|externalInterruptKeypadB2_Pin|externalInterruptKeypadB4_Pin;
  GPIO_InitStruct.Mode = GPIO_MODE_IT_RISING;
  GPIO_InitStruct.Pull = GPIO_PULLDOWN;
  HAL_GPIO_Init(GPIOB, &GPIO_InitStruct);

  /*Configure GPIO pin : PC9 */
  GPIO_InitStruct.Pin = GPIO_PIN_9;
  GPIO_InitStruct.Mode = GPIO_MODE_IT_RISING;
  GPIO_InitStruct.Pull = GPIO_NOPULL;
  HAL_GPIO_Init(GPIOC, &GPIO_InitStruct);

  /*Configure GPIO pin : PA8 */
  GPIO_InitStruct.Pin = GPIO_PIN_8;
  GPIO_InitStruct.Mode = GPIO_MODE_OUTPUT_PP;
  GPIO_InitStruct.Pull = GPIO_PULLDOWN;
  GPIO_InitStruct.Speed = GPIO_SPEED_FREQ_LOW;
  HAL_GPIO_Init(GPIOA, &GPIO_InitStruct);

  /*Configure GPIO pins : PD4 PD5 PD6 PD7 */
  GPIO_InitStruct.Pin = GPIO_PIN_4|GPIO_PIN_5|GPIO_PIN_6|GPIO_PIN_7;
  GPIO_InitStruct.Mode = GPIO_MODE_OUTPUT_PP;
  GPIO_InitStruct.Pull = GPIO_NOPULL;
  GPIO_InitStruct.Speed = GPIO_SPEED_FREQ_LOW;
  HAL_GPIO_Init(GPIOD, &GPIO_InitStruct);

  /* EXTI interrupt init*/
  HAL_NVIC_SetPriority(EXTI0_IRQn, 1, 0);
  HAL_NVIC_EnableIRQ(EXTI0_IRQn);

  HAL_NVIC_SetPriority(EXTI1_IRQn, 1, 0);
  HAL_NVIC_EnableIRQ(EXTI1_IRQn);

  HAL_NVIC_SetPriority(EXTI2_TSC_IRQn, 1, 0);
  HAL_NVIC_EnableIRQ(EXTI2_TSC_IRQn);

  HAL_NVIC_SetPriority(EXTI4_IRQn, 1, 0);
  HAL_NVIC_EnableIRQ(EXTI4_IRQn);

  HAL_NVIC_SetPriority(EXTI9_5_IRQn, 1, 0);
  HAL_NVIC_EnableIRQ(EXTI9_5_IRQn);

}

void _Error_Handler(char *file, int line)
{
  while(1)
  {
  }
}

/************************ (C) COPYRIGHT STMicroelectronics *****END OF FILE****/
